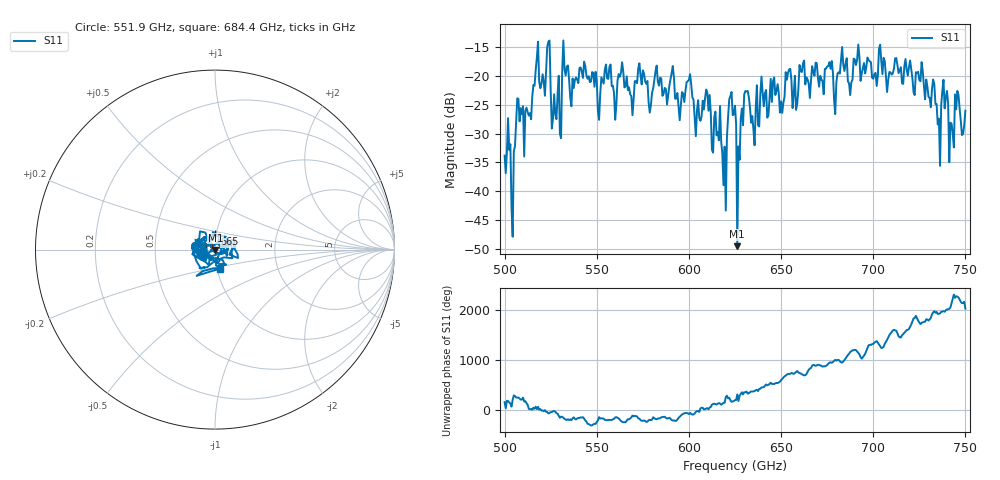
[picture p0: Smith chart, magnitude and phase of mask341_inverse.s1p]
!Created with skrf (http://scikit-rf.org).
# GHz S MA R 50.0
!freq magS11 angS11
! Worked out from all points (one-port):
!   401 points, 500 GHz to 750 GHz, reference 50 ohm
!   lowest |S11| = -49.6 dB at 626.2 GHz (marker M1), VSWR 1.01, Z = 50.2 - j0.227 ohm
!   |S11| at or under -10 dB: start of sweep to end of sweep
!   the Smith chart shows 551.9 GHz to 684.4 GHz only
!   S11 on the Smith chart (normalised r, x): 551.9 GHz: 0.87, -0.03; 665 GHz: 0.98, +0.17; 684.4 GHz: 1.03, -0.22
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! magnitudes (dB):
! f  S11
! 500 GHz  -33.8
! 504.4 GHz  -47.9
! 507.5 GHz  -24.0
! 511.9 GHz  -25.5
! 516.9 GHz  -19.0
! 523.8 GHz  -14.0
! 526.9 GHz  -23.2
! 531.2 GHz  -19.1
! 551.9 GHz  -23.1
! 562.5 GHz  -20.1
! 593.8 GHz  -22.9
! 610 GHz  -22.9
! 618.8 GHz  -39.0
! 623.1 GHz  -22.8
! 625 GHz  -25.2
! 626.2 GHz  -49.6
! 631.2 GHz  -22.7
! 635 GHz  -29.3
! 656.2 GHz  -25.6
! 665 GHz  -21.4
! 684.4 GHz  -19.1
! 687.5 GHz  -23.3
! 718.8 GHz  -19.9
! 735 GHz  -28.4
! 738.8 GHz  -25.6
! 742.5 GHz  -28.3
! 745.6 GHz  -22.6
! 750 GHz  -26.0
